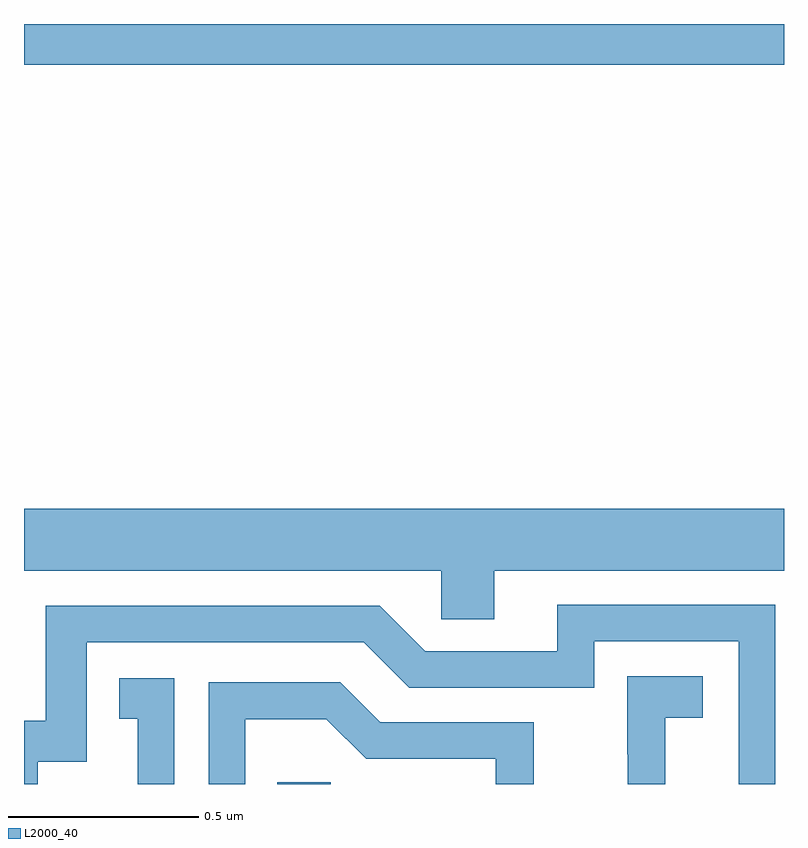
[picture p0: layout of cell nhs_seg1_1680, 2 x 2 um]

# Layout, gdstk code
import gdstk
lib = gdstk.Library(unit=1e-6, precision=1e-09)
def R(c, l, rs):  # rectangles x0, y0, x1, y1
    for r in rs: c.add(gdstk.rectangle(r[:2], r[2:], *l))
def P(c, l, *ps):  # polygons
    for p in ps: c.add(gdstk.Polygon(p, *l))
L2000_40 = (2000, 40)

nhs_seg1_1680 = lib.new_cell('nhs_seg1_1680')
R(nhs_seg1_1680, L2000_40, [(132.667,523.199,132.807,523.203), (132,525.092,134,525.199)])
P(nhs_seg1_1680, L2000_40, [(133.237,523.76),(134,523.76),(134,523.924),(132,523.924),(132,523.76),(133.098,523.76),(133.098,523.633),(133.237,523.633)],
  [(132.036,523.257),(132.165,523.257),(132.165,523.572),(132.894,523.572),(133.014,523.452),(133.5,523.452),(133.5,523.575),(133.881,523.575),(133.881,523.199),(133.977,523.199),(133.977,523.671),(133.403,523.671),(133.403,523.548),(133.056,523.548),(132.936,523.668),(132.057,523.668),(132.057,523.366),(132,523.366),(132,523.199),(132.036,523.199)],
  [(133.688,523.373),(133.786,523.373),(133.786,523.483),(133.588,523.483),(133.588,523.277),(133.589,523.277),(133.589,523.199),(133.688,523.199)],
  [(132.396,523.477),(132.25,523.477),(132.25,523.371),(132.299,523.371),(132.299,523.199),(132.396,523.199)],
  [(132.582,523.37),(132.796,523.37),(132.9,523.266),(133.242,523.266),(133.242,523.199),(133.341,523.199),(133.341,523.362),(132.937,523.362),(132.832,523.467),(132.486,523.467),(132.486,523.199),(132.582,523.199)])

lib.write_gds('nhs_seg1_1680.gds')
